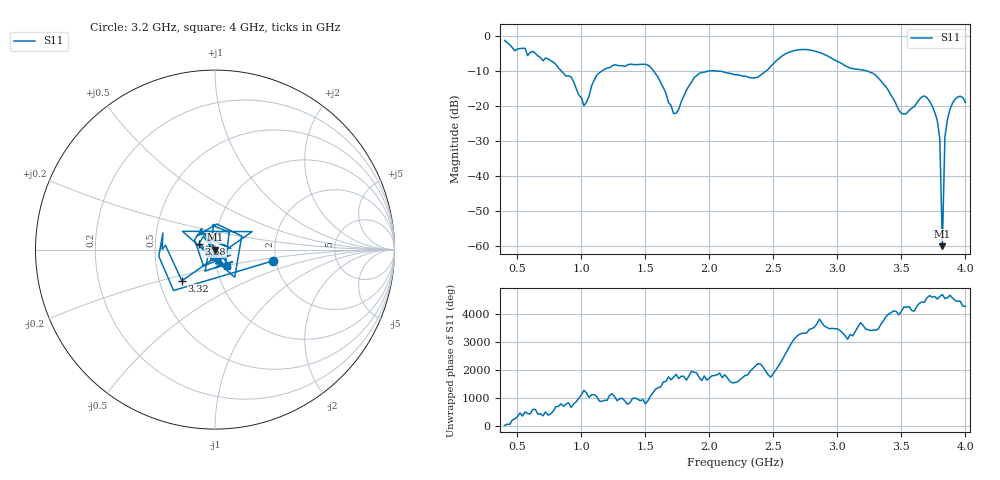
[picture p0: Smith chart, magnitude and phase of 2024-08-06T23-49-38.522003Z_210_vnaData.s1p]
!Created with skrf (http://scikit-rf.org).
# Hz S RI R 50.0
!freq ReS11 ImS11
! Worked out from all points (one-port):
!   181 points, 400 MHz to 4 GHz, reference 50 ohm
!   lowest |S11| = -60.0 dB at 3.82 GHz (marker M1), VSWR 1.00, Z = 50.1 + j0.00755 ohm
!   |S11| at or under -10 dB: 1.566 GHz to 1.986 GHz (419.7 MHz wide, 23.6 % of centre); 2.088 GHz to 2.439 GHz (351.6 MHz wide, 15.5 % of centre); 3.238 GHz to end of sweep (the widest 3 of 4)
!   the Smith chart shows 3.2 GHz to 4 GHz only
!   S11 on the Smith chart (normalised r, x): 3.2 GHz: 1.93, -0.27; 3.32 GHz: 0.65, -0.24; 3.58 GHz: 0.84, +0.05; 4 GHz: 1.12, -0.21
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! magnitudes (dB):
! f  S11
! 400 MHz  -1.2
! 860 MHz  -10.6
! 920 MHz  -11.7
! 1.02 GHz  -19.9
! 1.12 GHz  -11.1
! 1.3 GHz  -8.4
! 1.52 GHz  -8.2
! 1.6 GHz  -11.8
! 1.72 GHz  -22.1
! 1.76 GHz  -20.9
! 1.92 GHz  -10.6
! 2.2 GHz  -11.0
! 2.38 GHz  -11.7
! 2.66 GHz  -4.1
! 3.1 GHz  -9.1
! 3.2 GHz  -9.7
! 3.32 GHz  -11.9
! 3.5 GHz  -22.1
! 3.56 GHz  -21.2
! 3.58 GHz  -20.5
! 3.68 GHz  -17.0
! 3.78 GHz  -23.9
! 3.8 GHz  -29.3
! 3.82 GHz  -60.0
! 3.84 GHz  -28.8
! 3.86 GHz  -23.7
! 3.92 GHz  -18.0
! 4 GHz  -18.9
